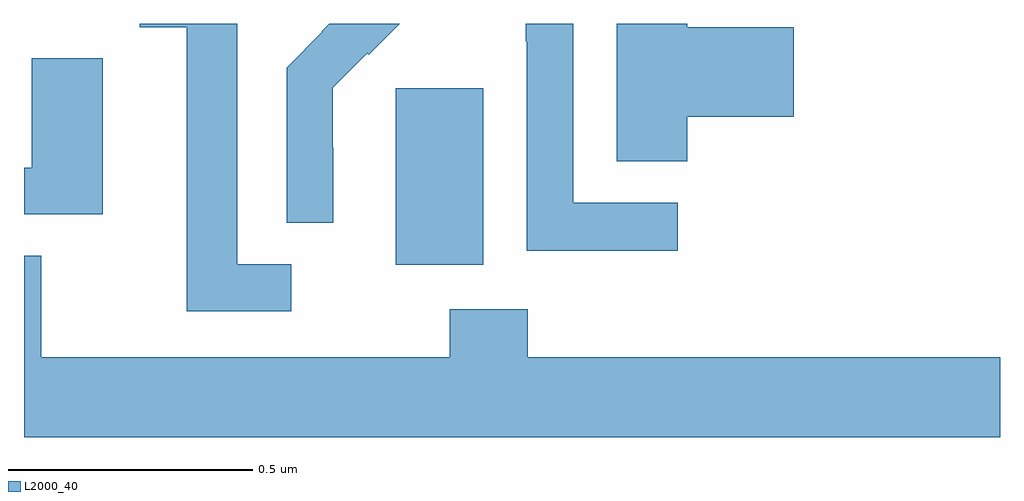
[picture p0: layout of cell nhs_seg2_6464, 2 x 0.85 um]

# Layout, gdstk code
import gdstk
lib = gdstk.Library(unit=1e-6, precision=1e-09)
def R(c, l, rs):  # rectangles x0, y0, x1, y1
    for r in rs: c.add(gdstk.rectangle(r[:2], r[2:], *l))
def P(c, l, *ps):  # polygons
    for p in ps: c.add(gdstk.Polygon(p, *l))
L2000_40 = (2000, 40)

nhs_seg2_6464 = lib.new_cell('nhs_seg2_6464')
R(nhs_seg2_6464, L2000_40, [(191.762,665.306,191.941,665.667)])
P(nhs_seg2_6464, L2000_40, [(191.634,665.546),(191.633,665.546),(191.633,665.669),(191.703,665.739),(191.706,665.736),(191.77,665.8),(191.626,665.8),(191.61,665.784),(191.611,665.783),(191.538,665.71),(191.538,665.392),(191.634,665.392)],
  [(192.34,665.433),(192.126,665.433),(192.126,665.8),(192.028,665.8),(192.028,665.764),(192.03,665.764),(192.03,665.335),(192.34,665.335)],
  [(192.359,665.609),(192.577,665.609),(192.577,665.792),(192.359,665.792),(192.359,665.8),(192.215,665.8),(192.215,665.518),(192.359,665.518)],
  [(191.548,665.307),(191.437,665.307),(191.437,665.8),(191.237,665.8),(191.237,665.792),(191.333,665.792),(191.333,665.211),(191.548,665.211)],
  [(191.161,665.729),(191.016,665.729),(191.016,665.505),(191,665.505),(191,665.409),(191.161,665.409)],
  [(193,665.116),(192.032,665.116),(192.032,665.215),(191.872,665.215),(191.872,665.116),(191.035,665.116),(191.035,665.324),(191,665.324),(191,664.952),(193,664.952)])

lib.write_gds('nhs_seg2_6464.gds')
